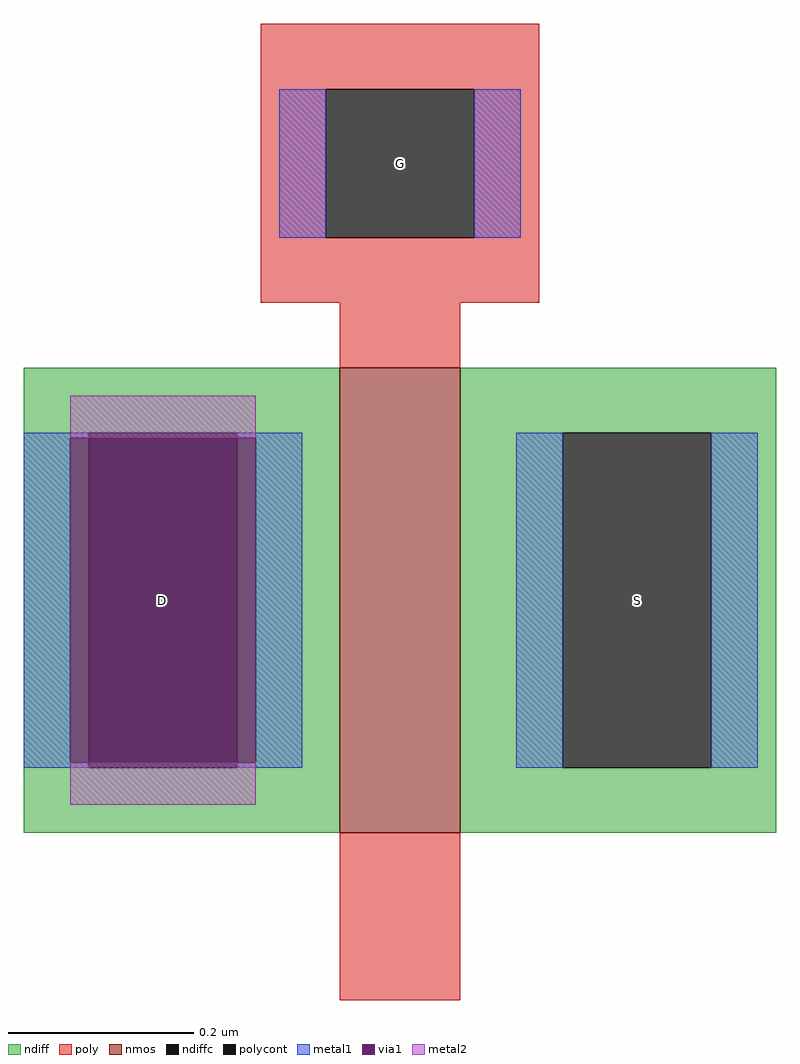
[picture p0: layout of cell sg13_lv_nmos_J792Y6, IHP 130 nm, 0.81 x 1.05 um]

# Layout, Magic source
magic
tech ihp-sg13g2
magscale 1 2
<< nmos >>
rect -13 -69 13 31
<< ndiff >>
rect -81 17 -13 31
rect -81 -55 -67 17
rect -35 -55 -13 17
rect -81 -69 -13 -55
rect 13 17 81 31
rect 13 -55 35 17
rect 67 -55 81 17
rect 13 -69 81 -55
<< ndiffc >>
rect -67 -55 -35 17
rect 35 -55 67 17
<< poly >>
rect -30 91 30 105
rect -30 59 -16 91
rect 16 59 30 91
rect -30 45 30 59
rect -13 31 13 45
rect -13 -105 13 -69
<< polycont >>
rect -16 59 16 91
<< metal1 >>
rect -26 59 -16 91
rect 16 59 26 91
rect -81 16 -67 17
rect -35 16 -21 17
rect -81 -54 -71 16
rect -31 -54 -21 16
rect -81 -55 -67 -54
rect -35 -55 -21 -54
rect 25 -55 35 17
rect 67 -55 77 17
<< via1 >>
rect -71 -54 -67 16
rect -67 -54 -35 16
rect -35 -54 -31 16
<< metal2 >>
rect -71 16 -31 25
rect -71 -63 -31 -54
<< labels >>
rlabel ndiffc -51 -19 -51 -19 0 D
port 1 nsew
rlabel ndiffc 51 -19 51 -19 0 S
port 2 nsew
rlabel polycont 0 75 0 75 0 G
port 3 nsew
<< properties >>
string gencell sg13_lv_nmos
string library sg13g2
string parameters w 0.5 l 0.13 m 1 nf 1 diffcov 100 polycov 100 guard 0 glc 1 grc 1 gtc 1 gbc 1 tbcov 100 rlcov 100 topc 1 botc 0 poverlap 0 doverlap 1 lmin 0.13 wmin 0.15 class mosfet compatible {sg13_lv_nmos sg13_hv_nmos} full_metal 1 conn_gates 0 gate_ring 0 doports 1 viasrc 0 viadrn 100 viagate 0 ccols 1 viagb 0 viagr 0 viagl 0 viagt 0
<< end >>
